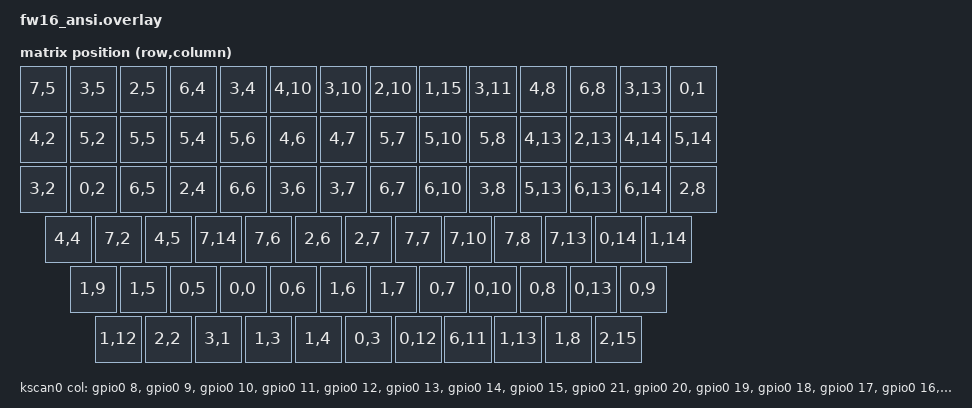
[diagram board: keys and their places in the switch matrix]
#include <dt-bindings/zmk/matrix_transform.h>

/ {
    chosen {
        zmk,kscan = &kscan0;
        zmk,matrix_transform = &default_transform;
    };

    behaviors {
        /* Backlight behavior (safe to define now; wiring can be added later) */
        bl: backlight {
            compatible = "zmk,behavior-backlight";
            label = "BL";
            #binding-cells = <2>;
        };
        /* RGB behavior will be added once hardware is wired (to avoid link errors) */
        // rgb_ug: rgb_underglow {
        //     compatible = "zmk,behavior-rgb-underglow";
        //     label = "RGB_UG";
        // };
    };

    default_transform: keymap_transform_0 {
        compatible = "zmk,matrix-transform";
        columns = <16>;
        rows = <8>;
        map = <
            /* Row 1: FN row (14) in LAYOUT order */
            RC(7,5) RC(3,5) RC(2,5) RC(6,4) RC(3,4) RC(4,10) RC(3,10) RC(2,10) RC(1,15) RC(3,11) RC(4,8) RC(6,8) RC(3,13) RC(0,1)

            /* Row 2: Number row (14) */
            RC(4,2) RC(5,2) RC(5,5) RC(5,4) RC(5,6) RC(4,6) RC(4,7) RC(5,7) RC(5,10) RC(5,8) RC(4,13) RC(2,13) RC(4,14) RC(5,14)

            /* Row 3: Q row (14) */
            RC(3,2) RC(0,2) RC(6,5) RC(2,4) RC(6,6) RC(3,6) RC(3,7) RC(6,7) RC(6,10) RC(3,8) RC(5,13) RC(6,13) RC(6,14) RC(2,8)

            /* Row 4: A row (13) */
            RC(4,4) RC(7,2) RC(4,5) RC(7,14) RC(7,6) RC(2,6) RC(2,7) RC(7,7) RC(7,10) RC(7,8) RC(7,13) RC(0,14) RC(1,14)

            /* Row 5: Z row (12) */
            RC(1,9) RC(1,5) RC(0,5) RC(0,0) RC(0,6) RC(1,6) RC(1,7) RC(0,7) RC(0,10) RC(0,8) RC(0,13) RC(0,9)

            /* Row 6: bottom row (11) */
            RC(1,12) RC(2,2) RC(3,1) RC(1,3) RC(1,4) RC(0,3) RC(0,12) RC(6,11) RC(1,13) RC(1,8) RC(2,15)
        >;
    };

    /* KSCAN definition for the FW16 ANSI */
    kscan0: kscan_0 {
        compatible = "zmk,kscan-fw16";
        label = "KSCAN";

        /* Framework 16 ANSI wiring:
         * Columns (KSO0..15): GP8,9,10,11,12,13,14,15,21,20,19,18,17,16,23,22
         * MUX select A,B,C: GP1,GP2,GP3; MUX enable: GP4 (active low)
         * ADC channel: GP28 (ADC channel 2)
         */
        col-gpios = <&gpio0 8 GPIO_ACTIVE_HIGH>,
                    <&gpio0 9 GPIO_ACTIVE_HIGH>,
                    <&gpio0 10 GPIO_ACTIVE_HIGH>,
                    <&gpio0 11 GPIO_ACTIVE_HIGH>,
                    <&gpio0 12 GPIO_ACTIVE_HIGH>,
                    <&gpio0 13 GPIO_ACTIVE_HIGH>,
                    <&gpio0 14 GPIO_ACTIVE_HIGH>,
                    <&gpio0 15 GPIO_ACTIVE_HIGH>,
                    <&gpio0 21 GPIO_ACTIVE_HIGH>,
                    <&gpio0 20 GPIO_ACTIVE_HIGH>,
                    <&gpio0 19 GPIO_ACTIVE_HIGH>,
                    <&gpio0 18 GPIO_ACTIVE_HIGH>,
                    <&gpio0 17 GPIO_ACTIVE_HIGH>,
                    <&gpio0 16 GPIO_ACTIVE_HIGH>,
                    <&gpio0 23 GPIO_ACTIVE_HIGH>,
                    <&gpio0 22 GPIO_ACTIVE_HIGH>;

        mux-gpios = <&gpio0 1 GPIO_ACTIVE_HIGH>,
                    <&gpio0 2 GPIO_ACTIVE_HIGH>,
                    <&gpio0 3 GPIO_ACTIVE_HIGH>;
        /* MUX enable is hardware-active-low; we will drive it low to enable */
        mux-enable-gpios = <&gpio0 4 GPIO_ACTIVE_HIGH>;

        io-channels = <&adc 2>;
        /* Bias the ADC pad with an internal pull-up to prevent floating */
        adc-gpios = <&gpio0 28 GPIO_PULL_UP>;
        rows = <8>;
        columns = <16>;

        debounce-press-ms = <5>;
        debounce-release-ms = <5>;
        debounce-scan-period-ms = <1>;
        poll-period-ms = <2>;
    };
};
